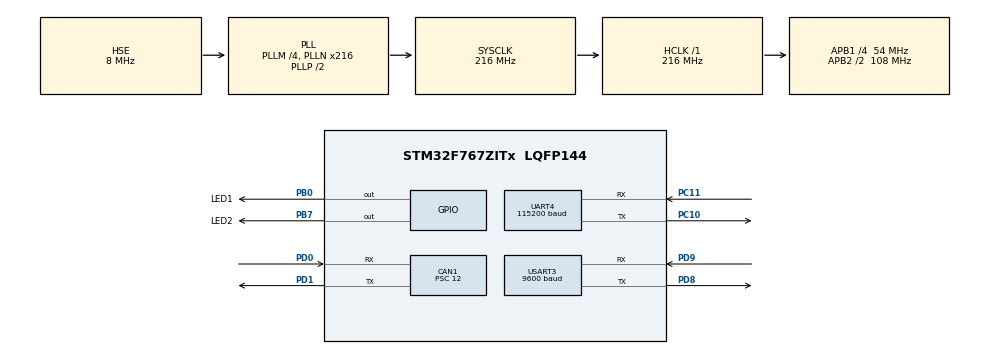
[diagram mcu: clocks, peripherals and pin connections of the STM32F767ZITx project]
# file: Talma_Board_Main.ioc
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CAN1.BS1=CAN_BS1_15TQ
CAN1.BS2=CAN_BS2_2TQ
CAN1.CalculateBaudRate=250000
CAN1.CalculateTimeBit=4000
CAN1.CalculateTimeQuantum=222.22222222222223
CAN1.Mode=CAN_MODE_NORMAL
CAN1.NART=ENABLE
CAN1.Prescaler=12
CORTEX_M7.default_mode_Activation=1
FREERTOS.Tasks01=defaultTask,24,512,StartDefaultTask,Default,NULL,Dynamic,NULL,NULL;v_CanRxTask,32,1024,CanRxTask,Default,NULL,Static,v_CanRxTaskBuffer,v_CanRxTaskControlBlock
Mcu.Family=STM32F7
Mcu.Name=STM32F767ZITx
Mcu.Package=LQFP144
NVIC.CAN1_RX0_IRQn=true\:5\:0\:false\:false\:true\:true\:true\:true\:true
NVIC.PriorityGroup=NVIC_PRIORITYGROUP_4
PA13.Mode=Serial_Wire
PA13.Signal=SYS_JTMS-SWDIO
PA14.Mode=Serial_Wire
PA14.Signal=SYS_JTCK-SWCLK
PB0.GPIO_Label=LED1
PB0.Signal=GPIO_Output
PB7.GPIO_Label=LED2
PB7.Signal=GPIO_Output
PC10.Mode=Asynchronous
PC10.Signal=UART4_TX
PC11.Mode=Asynchronous
PC11.Signal=UART4_RX
PC14/OSC32_IN.Mode=LSE-External-Oscillator
PC14/OSC32_IN.Signal=RCC_OSC32_IN
PC15/OSC32_OUT.Mode=LSE-External-Oscillator
PC15/OSC32_OUT.Signal=RCC_OSC32_OUT
PD0.GPIO_PuPd=GPIO_PULLUP
PD0.Mode=CAN_Activate
PD0.Signal=CAN1_RX
PD1.Mode=CAN_Activate
PD1.Signal=CAN1_TX
PD5.Signal=USART2_TX
PD6.Signal=USART2_RX
PD8.Mode=Asynchronous
PD8.Signal=USART3_TX
PD9.Mode=Asynchronous
PD9.Signal=USART3_RX
PH0/OSC_IN.Mode=HSE-External-Oscillator
PH0/OSC_IN.Signal=RCC_OSC_IN
PH1/OSC_OUT.Mode=HSE-External-Oscillator
PH1/OSC_OUT.Signal=RCC_OSC_OUT
ProjectManager.HeapSize=0x200
ProjectManager.StackSize=0x400
ProjectManager.TargetToolchain=STM32CubeIDE
RCC.AHBFreq_Value=216000000
RCC.APB1CLKDivider=RCC_HCLK_DIV4
RCC.APB1Freq_Value=54000000
RCC.APB1TimFreq_Value=108000000
RCC.APB2CLKDivider=RCC_HCLK_DIV2
RCC.APB2Freq_Value=108000000
RCC.APB2TimFreq_Value=216000000
RCC.CortexFreq_Value=216000000
RCC.HCLKFreq_Value=216000000
RCC.HSE_VALUE=8000000
RCC.HSI_VALUE=16000000
RCC.PLLM=4
RCC.PLLN=216
RCC.PLLSourceVirtual=RCC_PLLSOURCE_HSE
RCC.SYSCLKFreq_VALUE=216000000
RCC.SYSCLKSource=RCC_SYSCLKSOURCE_PLLCLK
RCC.UART4CLockSelection=RCC_UART4CLKSOURCE_HSI
RCC.USART2CLockSelection=RCC_USART2CLKSOURCE_HSI
RCC.USART3CLockSelection=RCC_USART3CLKSOURCE_HSI
RCC.USBFreq_Value=216000000
RCC.VCOOutputFreq_Value=432000000
UART4.BaudRate=115200
USART3.BaudRate=9600
USART3.VirtualMode-Asynchronous=VM_ASYNC
VP_FREERTOS_VS_CMSIS_V2.Mode=CMSIS_V2
board=custom

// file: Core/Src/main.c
/* USER CODE BEGIN Header */
/**   STM32_F767_CAN_4frame_main_1.0
  ******************************************************************************
  * @file           : main.c
  * @brief          : Main program body
  ******************************************************************************
  * @attention
  *
  * Copyright (c) 2026 STMicroelectronics.
  * All rights reserved.
  *
  * This software is licensed under terms that can be found in the LICENSE file
  * in the root directory of this software component.
  * If no LICENSE file comes with this software, it is provided AS-IS.
  *
  ******************************************************************************
  */
/* USER CODE END Header */
#include "main.h"
#include "cmsis_os.h"
#include "can.h"
#include "usart.h"
#include "gpio.h"

/* USER CODE BEGIN Includes */
#include "FreeRTOS.h"
#include "queue.h"
#include "can_rtos_rx.h"
#include "uart_pkt.h"
#include "node_state.h"
#include <stdio.h>
/* USER CODE END Includes */

/* USER CODE BEGIN PV */

volatile uint32_t rx_dropped = 0;
extern QueueHandle_t qCanRx;

/* USER CODE END PV */

void SystemClock_Config(void);
static void MPU_Config(void);
void MX_FREERTOS_Init(void);

/* USER CODE BEGIN 0 */

/*----------------------------------------------------------------------------*/
int _write(int file, char *ptr, int len)
{
  HAL_UART_Transmit(&huart3, (uint8_t*)ptr, len, HAL_MAX_DELAY);
  return len;
}
/*----------------------------------------------------------------------------*/
static void CAN_Filter_0x100_to_0x1FF(void)
{
    CAN_FilterTypeDef f = {0};

    f.FilterBank = 0;
    f.FilterMode = CAN_FILTERMODE_IDMASK;
    f.FilterScale = CAN_FILTERSCALE_32BIT;
    f.FilterFIFOAssignment = CAN_RX_FIFO0;
    f.FilterActivation = ENABLE;
    f.SlaveStartFilterBank = 14;

    // StdID در رجیستر 32بیتی باید << 5 شود (مثل کاری که قبلاً کردی)
    // می‌خواهیم 0x100 تا 0x1FF را بگیریم:
    // ماسک: فقط بیت‌های بالایی مهم باشند => 0x700 (برای محدوده 0x100..0x1FF)
    // در قالب شیفت‌شده: (0x700 << 5)
    uint32_t id   = (0x100U << 5);
    uint32_t mask = (0x700U << 5);

    f.FilterIdHigh     = (uint16_t)(id >> 16);
    f.FilterIdLow      = (uint16_t)(id & 0xFFFF);
    f.FilterMaskIdHigh = (uint16_t)(mask >> 16);
    f.FilterMaskIdLow  = (uint16_t)(mask & 0xFFFF);

    if (HAL_CAN_ConfigFilter(&hcan1, &f) != HAL_OK)
        Error_Handler();

    //printf("Filter: accept StdID 0x100..0x1FF\r\n");
}

/*static void CAN_Filter_Node0_Node1(void)
{
  CAN_FilterTypeDef f = {0};

  f.FilterMode = CAN_FILTERMODE_IDLIST;
  f.FilterScale = CAN_FILTERSCALE_16BIT;
  f.FilterFIFOAssignment = CAN_RX_FIFO0;
  f.FilterActivation = ENABLE;
  f.SlaveStartFilterBank = 14;

  // -----------------------
  // Bank 0 → Node0
  // -----------------------
  f.FilterBank = 0;

  f.FilterIdHigh     = (0x100 << 5);                      // StdId = BASE_ID + (BOARD_ID<<2) + chunk
  f.FilterIdLow      = (0x101 << 5);
  f.FilterMaskIdHigh = (0x102 << 5);
  f.FilterMaskIdLow  = (0x103 << 5);

  if (HAL_CAN_ConfigFilter(&hcan1, &f) != HAL_OK)
      Error_Handler();

  // -----------------------
  // Bank 1 → Node1
  // -----------------------
  f.FilterBank = 1;

  f.FilterIdHigh     = (0x104 << 5);
  f.FilterIdLow      = (0x105 << 5);
  f.FilterMaskIdHigh = (0x106 << 5);
  f.FilterMaskIdLow  = (0x107 << 5);

  if (HAL_CAN_ConfigFilter(&hcan1, &f) != HAL_OK)
      Error_Handler();

  // -----------------------
  // Bank 1 → Node1
  // -----------------------
  f.FilterBank = 2;

  f.FilterIdHigh     = (0x108 << 5);
  f.FilterIdLow      = (0x109 << 5);
  f.FilterMaskIdHigh = (0x10A << 5);
  f.FilterMaskIdLow  = (0x10B << 5);

  if (HAL_CAN_ConfigFilter(&hcan1, &f) != HAL_OK)
      Error_Handler();

  printf("Filter set: Node0(0x100-0x103) & Node1(0x104-0x107)\r\n");
}*/
/*----------------------------------------------------------------------------*/

/*----------------------------------------------------------------------------*/

/*static void CAN_StartWithIrq(void)
{
  if (HAL_CAN_Start(&hcan1) != HAL_OK)
    Error_Handler();

  if (HAL_CAN_ActivateNotification(&hcan1, CAN_IT_RX_FIFO0_MSG_PENDING) != HAL_OK)
    Error_Handler();
}*/

static void CAN_StartWithIrq(void)
{
    if (HAL_CAN_Start(&hcan1) == HAL_OK &&
        HAL_CAN_ActivateNotification(&hcan1, CAN_IT_RX_FIFO0_MSG_PENDING) == HAL_OK)
    {
        can_ok = 1;
        return;
    }

    can_ok = 0;
    // اینجا Error_Handler نرو؛ فقط گزارش بده
    //printf("CAN offline (no ACK?) err=0x%08lX\r\n", HAL_CAN_GetError(&hcan1));
}
/*----------------------------------------------------------------------------*/

/*----------------------------------------------------------------------------*/

void HAL_CAN_RxFifo0MsgPendingCallback(CAN_HandleTypeDef *hcan)
{
    HAL_GPIO_TogglePin(LED2_GPIO_Port, LED2_Pin);
	  CanRtosRx_OnFifo0Pending(hcan);
}
/*----------------------------------------------------------------------------*/

/* USER CODE END 0 */

int main(void)
{

  /* MPU Configuration--------------------------------------------------------*/
  MPU_Config();

  /* MCU Configuration--------------------------------------------------------*/

  /* Reset of all peripherals, Initializes the Flash interface and the Systick. */
  HAL_Init();

  /* Configure the system clock */
  SystemClock_Config();

  /* Initialize all configured peripherals */
  MX_GPIO_Init();
  MX_CAN1_Init();
  MX_USART3_UART_Init();
  MX_UART4_Init();
  /* USER CODE BEGIN 2 */
  HAL_Delay(100);
  CAN_Filter_0x100_to_0x1FF();
 // CAN_FilterAcceptSensorRange();
  CAN_StartWithIrq();

  HAL_Delay(500);

  /* --------------------------------------------------------------------------
   * Load default therapy/risk configuration preset.
   * -------------------------------------------------------------------------- */
  TherapyRisk_LoadPreset(THERAPY_CONFIG_DEMO);

  /* --------------------------------------------------------------------------
   * DEBUG:
   * Verify therapy/risk configuration preset was loaded correctly.
   * -------------------------------------------------------------------------- */
  printf("RISK CFG: demo=%u sac_th=%u watch=%u alert=%u critical=%u\r\n",
         g_risk_cfg.demo_mode,
         g_risk_cfg.pressure_threshold_sacrum,
         g_risk_cfg.exposure_watch_s,
         g_risk_cfg.exposure_alert_s,
         g_risk_cfg.exposure_critical_s);
  /* USER CODE END 2 */

  /* Init scheduler */
  osKernelInitialize();

  /* Call init function for freertos objects (in cmsis_os2.c) */
  MX_FREERTOS_Init();

  /* Start scheduler */
  osKernelStart();

  /* We should never get here as control is now taken by the scheduler */

  /* Infinite loop */
  while (1)
  {

  }
}

void SystemClock_Config(void)
{
  RCC_OscInitTypeDef RCC_OscInitStruct = {0};
  RCC_ClkInitTypeDef RCC_ClkInitStruct = {0};

  /** Configure LSE Drive Capability
  */
  HAL_PWR_EnableBkUpAccess();

  /** Configure the main internal regulator output voltage
  */
  __HAL_RCC_PWR_CLK_ENABLE();
  __HAL_PWR_VOLTAGESCALING_CONFIG(PWR_REGULATOR_VOLTAGE_SCALE1);

  /** Initializes the RCC Oscillators according to the specified parameters
  * in the RCC_OscInitTypeDef structure.
  */
  RCC_OscInitStruct.OscillatorType = RCC_OSCILLATORTYPE_HSI|RCC_OSCILLATORTYPE_HSE;
  RCC_OscInitStruct.HSEState = RCC_HSE_ON;
  RCC_OscInitStruct.HSIState = RCC_HSI_ON;
  RCC_OscInitStruct.HSICalibrationValue = RCC_HSICALIBRATION_DEFAULT;
  RCC_OscInitStruct.PLL.PLLState = RCC_PLL_ON;
  RCC_OscInitStruct.PLL.PLLSource = RCC_PLLSOURCE_HSE;
  RCC_OscInitStruct.PLL.PLLM = 4;
  RCC_OscInitStruct.PLL.PLLN = 216;
  RCC_OscInitStruct.PLL.PLLP = RCC_PLLP_DIV2;
  RCC_OscInitStruct.PLL.PLLQ = 2;
  RCC_OscInitStruct.PLL.PLLR = 2;
  if (HAL_RCC_OscConfig(&RCC_OscInitStruct) != HAL_OK)
  {
    Error_Handler();
  }

  /** Activate the Over-Drive mode
  */
  if (HAL_PWREx_EnableOverDrive() != HAL_OK)
  {
    Error_Handler();
  }

  /** Initializes the CPU, AHB and APB buses clocks
  */
  RCC_ClkInitStruct.ClockType = RCC_CLOCKTYPE_HCLK|RCC_CLOCKTYPE_SYSCLK
                              |RCC_CLOCKTYPE_PCLK1|RCC_CLOCKTYPE_PCLK2;
  RCC_ClkInitStruct.SYSCLKSource = RCC_SYSCLKSOURCE_PLLCLK;
  RCC_ClkInitStruct.AHBCLKDivider = RCC_SYSCLK_DIV1;
  RCC_ClkInitStruct.APB1CLKDivider = RCC_HCLK_DIV4;
  RCC_ClkInitStruct.APB2CLKDivider = RCC_HCLK_DIV2;

  if (HAL_RCC_ClockConfig(&RCC_ClkInitStruct, FLASH_LATENCY_7) != HAL_OK)
  {
    Error_Handler();
  }
}

/* USER CODE BEGIN 4 */

/*----------------------------------------------------------------------------*/

/*----------------------------------------------------------------------------*/

/*----------------------------------------------------------------------------*/

/*----------------------------------------------------------------------------*/

/* USER CODE END 4 */

 /* MPU Configuration */

void MPU_Config(void)
{
  MPU_Region_InitTypeDef MPU_InitStruct = {0};

  /* Disables the MPU */
  HAL_MPU_Disable();

  /** Initializes and configures the Region and the memory to be protected
  */
  MPU_InitStruct.Enable = MPU_REGION_ENABLE;
  MPU_InitStruct.Number = MPU_REGION_NUMBER0;
  MPU_InitStruct.BaseAddress = 0x0;
  MPU_InitStruct.Size = MPU_REGION_SIZE_4GB;
  MPU_InitStruct.SubRegionDisable = 0x87;
  MPU_InitStruct.TypeExtField = MPU_TEX_LEVEL0;
  MPU_InitStruct.AccessPermission = MPU_REGION_NO_ACCESS;
  MPU_InitStruct.DisableExec = MPU_INSTRUCTION_ACCESS_DISABLE;
  MPU_InitStruct.IsShareable = MPU_ACCESS_SHAREABLE;
  MPU_InitStruct.IsCacheable = MPU_ACCESS_NOT_CACHEABLE;
  MPU_InitStruct.IsBufferable = MPU_ACCESS_NOT_BUFFERABLE;

  HAL_MPU_ConfigRegion(&MPU_InitStruct);
  /* Enables the MPU */
  HAL_MPU_Enable(MPU_PRIVILEGED_DEFAULT);

}

void Error_Handler(void)
{
  /* USER CODE BEGIN Error_Handler_Debug */
  /* User can add his own implementation to report the HAL error return state */
  __disable_irq();
  while (1)
  {
	  //  HAL_GPIO_TogglePin(GPIOB, GPIO_PIN_0);
	    HAL_Delay(200);
  }
  /* USER CODE END Error_Handler_Debug */
}

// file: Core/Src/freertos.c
/* USER CODE BEGIN Header */
/**
  ******************************************************************************
  * File Name          : freertos.c
  * Description        : Code for freertos applications
  ******************************************************************************
  * @attention
  *
  * Copyright (c) 2026 STMicroelectronics.
  * All rights reserved.
  *
  * This software is licensed under terms that can be found in the LICENSE file
  * in the root directory of this software component.
  * If no LICENSE file comes with this software, it is provided AS-IS.
  *
  ******************************************************************************
  */
/* USER CODE END Header */

#include "FreeRTOS.h"
#include "task.h"
#include "main.h"
#include "cmsis_os.h"

/* USER CODE BEGIN Includes */
#include "can.h"        // <<< اضافه کن
#include "can_rtos_rx.h"
#include "app_can.h"
#include "Serial_link.h"   // ارسال از طریق queue#include "uart_pkt.h"
#include  <stdio.h>
#include <string.h>
#include "can_rtos_tx.h"
#include "bed_model.h"
#include "sensor_store.h"
#include "node_state.h"
#include "bed_model.h"   // دسترسی به bed_cycle و bed_value
#include "uart_pkt.h"
#include "zone_analysis.h"   // تحلیل ناحیه‌های بالینی
#include "movement.h"
#include "risk_engine.h"   // محاسبه risk score
#include "alert_engine.h"
#include "recommendation.h"   // تولید توصیه عملی
#include "app_config.h"
#include "motor_scheduler.h"
#include "motor_test.h"
#include "therapy_engine.h"   // تصمیم سطح بالا برای therapy و ارسال به motor_scheduler
#include "motor_status_can.h"   // decode Node -> Main motor feedback on 0x480 + BOARD_ID
/* USER CODE END Includes */

typedef StaticTask_t osStaticThreadDef_t;

/* USER CODE BEGIN PD */

// === minimum time gap between full-bed snapshots sent to UI ===
// جلوگیری از ارسال بیش از حد snapshot کامل
#define SUMMARY_FIXED_PERIOD_MS   1000U

// === UI stream throttle ===
// برای اینکه UART RX فرصت دریافت command از UI داشته باشد، stream خروجی را محدود می‌کنیم.
#define UI_NODE32_SEND_EVERY_N_CYCLES   50U
/* USER CODE END PD */

/* USER CODE BEGIN Variables */
// ===  zone analysis result ===
// خروجی تحلیل ناحیه‌های تخت
static ZoneAnalysisResult_t g_zone_result;
static MovementResult_t g_movement;
// ===  risk engine result ===
static RiskResult_t g_risk_result;
static AlertResult_t g_alert;
// === recommendation result ===
static RecommendationResult_t g_recommendation;
// === global therapy/intervention planner state ===
// app_intervention.c برای approve/reject به این state دسترسی دارد.
TherapyEngineState_t g_therapy;
// === debug print throttle ===
// جلوگیری از spam شدن UART
static uint32_t last_debug_print = 0;

// === exposure tracking (seconds above threshold) ===
static uint32_t g_sacrum_exposure_s = 0U;
static uint32_t g_heels_exposure_s = 0U;
static uint32_t g_shoulders_exposure_s = 0U;

// === exposure thresholds per zone ===
// این thresholdها برای تست trend/exposure روی zoneهای مختلف جدا تعریف شده‌اند
static const uint8_t g_sacrum_exposure_threshold    = 20U;
static const uint8_t g_heels_exposure_threshold     = 8U;
static const uint8_t g_shoulders_exposure_threshold = 12U;

// === last time exposure counters were updated ===
static uint32_t g_last_exposure_update_ms = 0U;

extern volatile uint32_t rx_dropped;

osThreadId_t uartTestTaskHandle;
osThreadId_t serialTxTaskHandle;
// === SerialLink RX task handle ===
// دریافت commandهای UI روی UART
osThreadId_t serialRxTaskHandle;
osThreadId_t canTxTaskHandle;
osThreadId_t nodeMonitorTaskHandle;   // === task handle for node state monitor ===

osThreadId_t motorSchedulerTaskHandle;
osThreadId_t motorTestTaskHandle;
/* USER CODE END Variables */
/* Definitions for defaultTask */
osThreadId_t defaultTaskHandle;
const osThreadAttr_t defaultTask_attributes = {
  .name = "defaultTask",
  .stack_size = 512 * 4,
  .priority = (osPriority_t) osPriorityNormal,
};
/* Definitions for v_CanRxTask */
osThreadId_t v_CanRxTaskHandle;
uint32_t v_CanRxTaskBuffer[ 1024 ];
osStaticThreadDef_t v_CanRxTaskControlBlock;
const osThreadAttr_t v_CanRxTask_attributes = {
  .name = "v_CanRxTask",
  .cb_mem = &v_CanRxTaskControlBlock,
  .cb_size = sizeof(v_CanRxTaskControlBlock),
  .stack_mem = &v_CanRxTaskBuffer[0],
  .stack_size = sizeof(v_CanRxTaskBuffer),
  .priority = (osPriority_t) osPriorityAboveNormal,
};

/* USER CODE BEGIN FunctionPrototypes */
void UartTestTask(void *argument);
static uint8_t BuildNodeFlags(uint8_t node);   // ===  build UART flags for one node ===
static uint8_t SensorStatus_IsValid(uint8_t status);   // validity policy for one sensor status ===
static uint8_t SensorStatus_GetConfidence(uint8_t status);   // map sensor status to confidence ===
static void UpdateExposureCounters(const ZoneAnalysisResult_t *zone_res, uint32_t now_ms);
/* USER CODE END FunctionPrototypes */

void StartDefaultTask(void *argument);
void CanRxTask(void *argument);
void NodeMonitorTask(void *argument);   //  monitor node online/stale/offline state ===
void Node1CmdTask(void *argument);
void MX_FREERTOS_Init(void); /* (MISRA C 2004 rule 8.1) */

void MX_FREERTOS_Init(void) {
  /* USER CODE BEGIN Init */
	CanRtosRx_Init();
	CanRtosTx_Init();
	// === init motor scheduler queue/state ===
	// این لایه فرمان‌های موتور را queue می‌کند و با pacing امن روی CAN TX می‌فرستد.
	MotorScheduler_Init();
	UartPkt_Init();
	configASSERT(qCanRx != NULL);

	SerialLink_Init();
	// === initialize clinical zone layout ===
	ZoneAnalysis_Init();
	Movement_Init();
	AlertEngine_Init();
	// === initialize therapy engine ===
	// therapy فعلاً disabled است تا حرکت خودکار بدون تصمیم ما اجرا نشود.
	TherapyEngine_Init(&g_therapy);

	// DEBUG:
	// فقط برای تست planner.
	// این فعال‌سازی موتور را حرکت نمی‌دهد؛ فقط اجازه ساخت pending_plan می‌دهد.
	TherapyEngine_SetEnabled(&g_therapy, 1U);

	// DEBUG ONLY:
	// ساخت pending plan دستی برای تست approve lifecycle.
	// بعد از تست حتماً کامنت شود.
	//TherapyEngine_DebugCreatePendingPlan(&g_therapy, HAL_GetTick());

	const osThreadAttr_t serialTxTask_attributes = {
	  .name = "serialTxTask",
	  .stack_size = 512 * 4,
	  .priority = (osPriority_t) osPriorityNormal,
	};

	const osThreadAttr_t serialRxTask_attributes = {
	  .name = "serialRxTask",
	  .stack_size = 512 * 4,
	  .priority = (osPriority_t) osPriorityAboveNormal,
	};

	const osThreadAttr_t canTxTask_attributes = {
	  .name = "canTxTask",
	  .stack_size = 512 * 4,
	  .priority = (osPriority_t) osPriorityNormal,
	};

	const osThreadAttr_t motorSchedulerTask_attributes = {
	  .name = "motorSched",
	  .stack_size = 512 * 4,
	  .priority = (osPriority_t) osPriorityNormal,
	};

	#if ENABLE_MOTOR_TEST_TASK
		const osThreadAttr_t motorTestTask_attributes = {
		  .name = "motorTest",
		  .stack_size = 512 * 4,
		  .priority = (osPriority_t) osPriorityLow,
		};
	#endif

	#if ENABLE_NODE1_TEST_CMD_TASK
		const osThreadAttr_t node1CmdTask_attributes = {
		  .name = "node1CmdTask",
		  .stack_size = 512 * 4,
		  .priority = (osPriority_t) osPriorityLow,
		};
	#endif

	// === attributes for node monitor task ===
	const osThreadAttr_t nodeMonitorTask_attributes = {
	  .name = "nodeMonitorTask",
	  .stack_size = 512 * 4,
	  .priority = (osPriority_t) osPriorityLow,
	};
  /* USER CODE END Init */

  /* Create the thread(s) */
  /* creation of defaultTask */
  defaultTaskHandle = osThreadNew(StartDefaultTask, NULL, &defaultTask_attributes);

  /* creation of v_CanRxTask */
  v_CanRxTaskHandle = osThreadNew(CanRxTask, NULL, &v_CanRxTask_attributes);
  canTxTaskHandle = osThreadNew(CanTxTask, NULL, &canTxTask_attributes);

  // === motor command scheduler task ===
  // همه commandهای موتور از این task عبور می‌کنند تا interleave نشوند.
  motorSchedulerTaskHandle = osThreadNew(MotorScheduler_Task, NULL, &motorSchedulerTask_attributes);

  #if ENABLE_MOTOR_TEST_TASK
  // === temporary hardcoded motor tests ===
  // بعد از bring-up موفق، ENABLE_MOTOR_TEST_TASK را 0 کن.
  motorTestTaskHandle = osThreadNew(MotorTest_Task, NULL, &motorTestTask_attributes);
  #endif
  /* USER CODE BEGIN RTOS_THREADS */

  //uartTestTaskHandle = osThreadNew(UartTestTask, NULL, &uartTestTask_attributes);
  serialTxTaskHandle  = osThreadNew(SerialLink_TxTask, NULL, &serialTxTask_attributes);
  // === create SerialLink RX task ===
  // approve/reject commandها از UI
  serialRxTaskHandle = osThreadNew(SerialLink_RxTask, NULL, &serialRxTask_attributes);

	#if ENABLE_NODE1_TEST_CMD_TASK
	  // === create periodic test command task only when enabled ===
	  osThreadNew(Node1CmdTask, NULL, &node1CmdTask_attributes);
	#endif

  // === create node monitor task ===
  nodeMonitorTaskHandle = osThreadNew(NodeMonitorTask, NULL, &nodeMonitorTask_attributes);

  /* add threads, ... */
  /* USER CODE END RTOS_THREADS */

}

void StartDefaultTask(void *argument)
{
  /* USER CODE BEGIN StartDefaultTask */
	//HAL_CAN_ActivateNotification(&hcan1, CAN_IT_RX_FIFO0_MSG_PENDING);
	//printf("CAN notif enabled\r\n");

  /* Infinite loop */
	for(;;)
	{
	 //   HAL_GPIO_TogglePin(LED1_GPIO_Port, LED1_Pin);

	#if DEBUG_SERIAL_TX_STATS
	    printf("SerialLink dropped=%lu\r\n",
	           (unsigned long)SerialLink_TxDropped());
	#endif

	    // === اگر یک snapshot کامل از تخت آماده شده ===
	   /* if (bed_snapshot_ready != 0U)
	    {
	        // === ارسال کل تخت به UI ===
	        UartPkt_SendBedSnapshot((uint16_t)bed_cycle, bed_value);

	        // === reset flag تا دوباره ارسال نشود ===
	        bed_snapshot_ready = 0U;
	    }*/

	    osDelay(500);   // کمی سریع‌تر برای پاسخ بهتر
	}
  /* USER CODE END StartDefaultTask */
}

void CanRxTask(void *argument)
{
  (void)argument;

  CanRxMsg m;

  // === آخرین زمان enqueue شدن packetهای سنگین UI ===
  static uint32_t last_summary_tx_ms = 0U;

  // === [CONFIG] حداکثر فاصله مجاز بین chunk های یک assemble ===
  const uint32_t ASM_TIMEOUT_MS = 100U;

  // === [STAT] شمارش خطای enqueue به UART TX queue ===
  static volatile uint32_t tx_drop = 0;

  // === شناسه فریم ارسالی به UI ===
  static uint16_t ui_frame_id = 0U;

  uint16_t frame_id = 0;

  for (;;)
  {
    // === [RX] منتظر پیام از صف CAN RX ===
    if (xQueueReceive(qCanRx, &m, portMAX_DELAY) != pdPASS)
      continue;

    const uint32_t now = HAL_GetTick();
    last_rx_ms = now;

    // === [FILTER] فقط فریم استاندارد data با طول 8 بایت ===
    if (m.h.IDE != CAN_ID_STD)   continue;
    if (m.h.RTR != CAN_RTR_DATA) continue;
    if (m.h.DLC != 8U)           continue;

    const uint16_t id = (uint16_t)m.h.StdId;

    // === [MOTOR STATUS RX] Node -> Main motor feedback ===
    // Motor status frames use 0x480 + BOARD_ID.
    // این frameها مربوط به sensor assembly نیستند و باید قبل از sensor decode جدا شوند.
    if (MotorStatusCan_IsStatusId(id) != 0U)
    {
      MotorStatusCan_HandleFrame(id, m.d, now);
      continue;
    }

    // === [FILTER] فقط ID های بازه سنسورها ===
    if (id < (uint16_t)BASE_ID) continue;

    // === [DECODE] استخراج node و chunk از CAN ID ===
    const uint16_t rel   = (uint16_t)(id - (uint16_t)BASE_ID);
    const uint8_t  node  = (uint8_t)(rel >> 2);
    const uint8_t  chunk = (uint8_t)(rel & 0x03U);

    // === [BOUND CHECK] اگر node خارج از بازه معتبر بود ===
    if (node >= (uint8_t)NODES) continue;

    // === [TRACK] ثبت آخرین زمان دریافت هر فریم از این نود ===
    node_last_frame_ms[node] = now;

    // === [ASSEMBLY TIMEOUT] اگر assemble نیمه‌کاره قدیمی مانده، ریست شود ===
    if (chunk_mask[node] != 0U)
    {
      if ((now - asm_start_ms[node]) > ASM_TIMEOUT_MS)
      {
        chunk_mask[node] = 0U;
        asm_start_ms[node] = now;
      }
    }

    // === [ASSEMBLY START] اگر این اولین chunk این سیکل باشد ===
    if (chunk_mask[node] == 0U)
    {
      asm_start_ms[node] = now;
    }

    // === [DECODE SENSOR BYTES] decode کردن raw/value/status ===
    const uint8_t base = (uint8_t)((uint32_t)chunk * SENSOR_BYTES_PER_CHUNK);

    for (uint8_t i = 0; i < SENSOR_BYTES_PER_CHUNK; i++)
    {
      const uint8_t raw = m.d[i];
      const uint8_t idx = (uint8_t)(base + i);

      sensors32[node][idx] = raw;

      sensor_value[node][idx] =
          (uint8_t)(raw & SENSOR_VALUE_MASK);

      sensor_status[node][idx] =
          (uint8_t)((raw >> SENSOR_STATUS_SHIFT) & SENSOR_STATUS_MASK);

      valid_mask[node][idx] =
          SensorStatus_IsValid(sensor_status[node][idx]);

      sensor_confidence[node][idx] =
          SensorStatus_GetConfidence(sensor_status[node][idx]);
    }

    // === [MARK] این chunk برای این نود دریافت شد ===
    chunk_mask[node] |= (uint8_t)(1U << chunk);

    // === [COMPLETE] اگر هر 4 chunk رسیده‌اند ===
    if (chunk_mask[node] == 0x0FU)
    {
      chunk_mask[node] = 0U;
      cycles_ok[node]++;

      // === [MEASURE] اندازه‌گیری فاصله بین complete cycle های این نود ===
      {
        uint32_t prev_complete = node_last_complete_ms[node];
        node_last_complete_ms[node] = now;

        if (prev_complete != 0U)
        {
          /*
          printf("NODE %u complete_dt=%lu ms\r\n",
                 node,
                 (unsigned long)(now - prev_complete));
          */
        }
      }

      node_state[node] = NODE_STATE_ONLINE;

      // === copy completed node sensor data into global bed model ===
      BedModel_UpdateNode(node,
                          sensor_value,
                          sensor_status,
                          valid_mask,
                          sensor_confidence);

      // === update bed cycle sync state ===
      BedSync_OnNodeUpdated(node);

      // === اگر یک snapshot کامل از تخت آماده شده ===
      if (bed_snapshot_ready != 0U)
      {
        // === run zone analysis on stable snapshot ===
        ZoneAnalysis_Run(bed_value_send,
                         bed_valid_send,
                         &g_zone_result);

        // === run movement detection on stable snapshot ===
        Movement_Run(bed_value_send,
                     bed_valid_send,
                     &g_movement);

        // === run risk score engine ===
        RiskEngine_Run(&g_zone_result,
                       &g_movement,
                       &g_risk_result);

        AlertEngine_Run(&g_risk_result,
                        &g_movement,
                        &g_alert);

        // === generate recommendation from current clinical summary ===
        Recommendation_Run(&g_risk_result,
                           &g_alert,
                           &g_movement,
                           &g_recommendation);

        // === build intervention plan only ===
        // هیچ حرکت موتوری اینجا انجام نمی‌شود.
        TherapyEngine_Run(&g_therapy,
                          &g_zone_result,
                          &g_movement,
                          &g_risk_result,
                          &g_alert,
                          &g_recommendation,
                          now);

        // === send pending intervention plan only once ===
        {
          TherapyPlan_t *p =
              (TherapyPlan_t *)TherapyEngine_GetPendingPlan(&g_therapy);

          if (p != 0)
          {
            if (p->ui_sent == 0U)
            {
              if (SerialLink_SendInterventionPlan_Async(p) == pdPASS)
              {
                p->ui_sent = 1U;

                printf("THERAPY PLAN: delivered to UI id=%lu\r\n",
                       (unsigned long)p->plan_id);
              }
            }
          }
        }

        // === derived summary fields for analytics/trend ===
        uint16_t uptime_s = (uint16_t)(now / 1000U);

        uint8_t shoulders_avg = (uint8_t)(
            ((uint16_t)g_zone_result.zone[ZONE_LEFT_SHOULDER].avg +
             (uint16_t)g_zone_result.zone[ZONE_RIGHT_SHOULDER].avg) / 2U);

        uint8_t shoulders_peak =
            (g_zone_result.zone[ZONE_LEFT_SHOULDER].peak >
             g_zone_result.zone[ZONE_RIGHT_SHOULDER].peak)
            ? g_zone_result.zone[ZONE_LEFT_SHOULDER].peak
            : g_zone_result.zone[ZONE_RIGHT_SHOULDER].peak;

        UpdateExposureCounters(&g_zone_result, now);

        uint8_t zones_valid_mask = 0U;

        if (g_zone_result.zone[ZONE_SACRUM].valid_cells > 0U)
          zones_valid_mask |= (1U << 0);

        if (g_zone_result.zone[ZONE_LEFT_HEEL].valid_cells > 0U)
          zones_valid_mask |= (1U << 1);

        if (g_zone_result.zone[ZONE_RIGHT_HEEL].valid_cells > 0U)
          zones_valid_mask |= (1U << 2);

        if (g_zone_result.zone[ZONE_LEFT_SHOULDER].valid_cells > 0U)
          zones_valid_mask |= (1U << 3);

        if (g_zone_result.zone[ZONE_RIGHT_SHOULDER].valid_cells > 0U)
          zones_valid_mask |= (1U << 4);

        // bit0 = raw averages
        // bit1 = smoothed averages
        // bit2 = exposure counters active
        uint8_t summary_flags = 0x05U;

        if ((now - last_debug_print) >= DEBUG_PRINT_PERIOD_MS)
        {
          last_debug_print = now;

#if DEBUG_ZONE_ANALYSIS
          printf("ZONE: sacrum avg=%u peak=%u valid=%u active=%u | heelL avg=%u | heelR avg=%u\r\n",
                 g_zone_result.zone[ZONE_SACRUM].avg,
                 g_zone_result.zone[ZONE_SACRUM].peak,
                 g_zone_result.zone[ZONE_SACRUM].valid_cells,
                 g_zone_result.zone[ZONE_SACRUM].active_cells,
                 g_zone_result.zone[ZONE_LEFT_HEEL].avg,
                 g_zone_result.zone[ZONE_RIGHT_HEEL].avg);
#endif

#if DEBUG_ALERT
          printf("ALERT: active=%u type=%u sev=%u dur=%lu s\r\n",
                 g_alert.active,
                 g_alert.type,
                 g_alert.severity,
                 (unsigned long)g_alert.duration_s);
#endif

#if DEBUG_RISK
          printf("RISK: score=%u level=%u\r\n",
                 g_risk_result.score,
                 g_risk_result.level);
#endif

#if DEBUG_MOVEMENT
          printf("MOV: energy=%u detected=%u\r\n",
                 g_movement.energy,
                 g_movement.detected);
#endif

#if DEBUG_RECOMMENDATION
          printf("REC: code=%u priority=%u sac_avg=%u\r\n",
                 g_recommendation.code,
                 g_recommendation.priority,
                 g_zone_result.zone[ZONE_SACRUM].avg);
#endif
        }

        // === UI heavy packet scheduler ===
        // قبلاً در هر period چهار packet پشت‌سرهم enqueue می‌شد:
        // BED_SNAPSHOT + BED_STATUS + NODE_HEALTH + SUMMARY
        // این باعث اشباع UART می‌شد.
        // الان در هر period فقط یکی از آن‌ها enqueue می‌شود.
        if ((now - last_summary_tx_ms) >= SUMMARY_FIXED_PERIOD_MS)
        {
        	/* --------------------------------------------------------------------------
        	 * TIME SINCE LAST MOVEMENT
        	 *
        	 * اگر هنوز هیچ movement معتبری ثبت نشده باشد، نباید 0xFFFF بفرستیم.
        	 * چون این باعث می‌شود risk engine فکر کند بیمار مدت خیلی طولانی بی‌حرکت بوده.
        	 *
        	 * در startup:
        	 *   no-movement time از صفر شروع می‌شود.
        	 *
        	 * بعداً اگر movement واقعی ثبت شد:
        	 *   زمان از آخرین movement محاسبه می‌شود.
        	 * -------------------------------------------------------------------------- */
        	uint16_t time_since_last_movement_s = 0U;

        	if (g_movement.last_movement_ms != 0U)
        	{
        	  uint32_t dt_ms = now - g_movement.last_movement_ms;
        	  uint32_t dt_s = dt_ms / 1000U;

        	  if (dt_s > 0xFFFFU)
        	  {
        	    dt_s = 0xFFFFU;
        	  }

        	  time_since_last_movement_s = (uint16_t)dt_s;
        	}
        	else
        	{
        	  /* ------------------------------------------------------------------------
        	   * No movement has been detected yet.
        	   * Count immobility from system uptime instead of forcing 0xFFFF.
        	   * ------------------------------------------------------------------------ */
        	  uint32_t uptime_s32 = now / 1000U;

        	  if (uptime_s32 > 0xFFFFU)
        	  {
        	    uptime_s32 = 0xFFFFU;
        	  }

        	  time_since_last_movement_s = (uint16_t)uptime_s32;
        	}

          frame_id = ++ui_frame_id;

          // === round-robin heavy UI packets ===
          // هر بار فقط یک packet سنگین وارد qSerialTx می‌شود.
          static uint8_t ui_heavy_slot = 0U;
          BaseType_t ui_tx_ok = pdFAIL;

#if DEBUG_SUMMARY_ENQUEUE
          printf("UI FRAME: frame_id=%u slot=%u\r\n",
                 frame_id,
                 (unsigned)ui_heavy_slot);
#endif

          switch (ui_heavy_slot)
          {
            case 0U:
            {
              ui_tx_ok = SerialLink_SendBedSnapshot_Async(frame_id);

#if DEBUG_SUMMARY_ENQUEUE
              printf("ENQ: BED_SNAPSHOT %s\r\n",
                     (ui_tx_ok == pdPASS) ? "ok" : "fail");
#endif
              break;
            }

            case 1U:
            {
              ui_tx_ok = SerialLink_SendBedStatus_Async(frame_id);

#if DEBUG_SUMMARY_ENQUEUE
              printf("ENQ: BED_STATUS %s\r\n",
                     (ui_tx_ok == pdPASS) ? "ok" : "fail");
#endif
              break;
            }

            case 2U:
            {
              ui_tx_ok = SerialLink_SendNodeHealth_Async(frame_id);

#if DEBUG_SUMMARY_ENQUEUE
              printf("ENQ: NODE_HEALTH %s\r\n",
                     (ui_tx_ok == pdPASS) ? "ok" : "fail");
#endif
              break;
            }

            case 3U:
            default:
            {

            	/* --------------------------------------------------------------------------
            	 * TIME-BASED RISK / ALERT GATING
            	 *
            	 * Heatmap و zone values لحظه‌ای هستند و همیشه به UI ارسال می‌شوند.
            	 *
            	 * اما risk / alert / recommendation نباید با اولین frame فعال شوند.
            	 * این‌ها فقط وقتی فعال می‌شوند که exposure زمان کافی جمع کرده باشد.
            	 *
            	 * Config از g_risk_cfg خوانده می‌شود:
            	 *   - DEMO mode: زمان‌های کوتاه برای تست UI
            	 *   - CLINICAL_TEST mode: زمان‌های واقعی‌تر
            	 * -------------------------------------------------------------------------- */

            	/* بیشترین exposure بین نواحی مهم را مبنای risk کلی قرار می‌دهیم. */
            	uint16_t max_exposure_s = (uint16_t)g_sacrum_exposure_s;

            	if ((uint16_t)g_heels_exposure_s > max_exposure_s)
            	{
            	  max_exposure_s = (uint16_t)g_heels_exposure_s;
            	}

            	if ((uint16_t)g_shoulders_exposure_s > max_exposure_s)
            	{
            	  max_exposure_s = (uint16_t)g_shoulders_exposure_s;
            	}

            	/* --------------------------------------------------------------------------
            	 * Default gated values:
            	 * تا قبل از رسیدن exposure به threshold، UI باید risk/alert خاموش ببیند.
            	 * -------------------------------------------------------------------------- */
            	uint8_t gated_risk_score = 0U;
            	uint8_t gated_risk_level = 0U;

            	uint8_t gated_alert_active = 0U;
            	uint8_t gated_alert_type = 0U;
            	uint8_t gated_alert_severity = 0U;
            	uint16_t gated_alert_duration_s = 0U;

            	uint8_t gated_recommendation_code = 0U;
            	uint8_t gated_recommendation_priority = 0U;

            	/* --------------------------------------------------------------------------
            	 * IMMOBILITY GATING
            	 *
            	 * Clinical risk فقط وقتی معتبر است که:
            	 *   فشار/Exposure بالا باشد
            	 *   و بیمار مدت کافی حرکت مؤثر نداشته باشد.
            	 *
            	 * اگر بیمار اخیراً حرکت کرده باشد:
            	 *   heatmap همچنان نمایش داده می‌شود
            	 *   اما risk/alert/recommendation فعال نمی‌شود.
            	 * -------------------------------------------------------------------------- */

            	uint8_t movement_warn_elapsed = 0U;
            	uint8_t movement_alert_elapsed = 0U;

            	/* --------------------------------------------------------------------------
            	 * اگر زمان بدون حرکت از warning threshold عبور کرد
            	 * اجازه WATCH risk داده می‌شود.
            	 * -------------------------------------------------------------------------- */
            	if (time_since_last_movement_s >=
            	    g_risk_cfg.no_movement_warn_s)
            	{
            	  movement_warn_elapsed = 1U;
            	}

            	/* --------------------------------------------------------------------------
            	 * اگر زمان بدون حرکت از alert threshold عبور کرد
            	 * اجازه ALERT/CRITICAL داده می‌شود.
            	 * -------------------------------------------------------------------------- */
            	if (time_since_last_movement_s >=
            	    g_risk_cfg.no_movement_alert_s)
            	{
            	  movement_alert_elapsed = 1U;
            	}

            	/* --------------------------------------------------------------------------
            	 * WATCH:
            	 * شروع نمایش risk سبک، بدون alert جدی.
            	 * -------------------------------------------------------------------------- */
            	if ((max_exposure_s >= g_risk_cfg.exposure_watch_s) &&
            	    (movement_warn_elapsed != 0U))
            	{
            	  gated_risk_score = 25U;
            	  gated_risk_level = 1U;
            	}

            	/* --------------------------------------------------------------------------
            	 * ALERT:
            	 * وقتی exposure به سطح alert رسید، alert و recommendation فعال می‌شوند.
            	 * -------------------------------------------------------------------------- */
            	if ((max_exposure_s >= g_risk_cfg.exposure_alert_s) &&
            	    (movement_alert_elapsed != 0U))
            	{
            	  gated_risk_score = 60U;
            	  gated_risk_level = 2U;

            	  gated_alert_active = 1U;
            	  gated_alert_type = 1U;
            	  gated_alert_severity = 2U;
            	  gated_alert_duration_s = max_exposure_s;

            	  gated_recommendation_code = 1U;
            	  gated_recommendation_priority = 2U;
            	}

            	/* --------------------------------------------------------------------------
            	 * CRITICAL:
            	 * exposure طولانی و جدی.
            	 * -------------------------------------------------------------------------- */
            	if ((max_exposure_s >= g_risk_cfg.exposure_critical_s) &&
            	    (movement_alert_elapsed != 0U))
            	{
            	  gated_risk_score = 90U;
            	  gated_risk_level = 3U;

            	  gated_alert_active = 1U;
            	  gated_alert_type = 1U;
            	  gated_alert_severity = 3U;
            	  gated_alert_duration_s = max_exposure_s;

            	  gated_recommendation_code = 2U;
            	  gated_recommendation_priority = 3U;
            	}

            	/* --------------------------------------------------------------------------
            	 * DEBUG:
            	 * Verify gated recommendation values before UART summary TX.
            	 * -------------------------------------------------------------------------- */
            	printf("GATED SUMMARY: "
            	       "exp=%u "
            	       "risk=%u "
            	       "alert=%u "
            	       "rec=%u "
            	       "prio=%u\r\n",
            	       max_exposure_s,
            	       gated_risk_level,
            	       gated_alert_active,
            	       gated_recommendation_code,
            	       gated_recommendation_priority);

            	printf("GATED SUMMARY: exp=%u move=%u noMove=%u warn=%u alertT=%u risk=%u alert=%u rec=%u prio=%u\r\n",
            	       max_exposure_s,
            	       g_movement.detected,
            	       time_since_last_movement_s,
            	       g_risk_cfg.no_movement_warn_s,
            	       g_risk_cfg.no_movement_alert_s,
            	       gated_risk_level,
            	       gated_alert_active,
            	       gated_recommendation_code,
            	       gated_recommendation_priority);

              ui_tx_ok = SerialLink_SendSummary_Async(
                  frame_id,
                  uptime_s,
				  gated_risk_score,
				  gated_risk_level,
                  g_movement.detected,
                  time_since_last_movement_s,
				  gated_alert_active,
				  gated_alert_type,
				  gated_alert_severity,
				  gated_alert_duration_s,
				  gated_recommendation_code,
				  gated_recommendation_priority,
                  g_zone_result.zone[ZONE_SACRUM].avg,
                  g_zone_result.zone[ZONE_SACRUM].peak,
                  g_zone_result.zone[ZONE_LEFT_HEEL].avg,
                  g_zone_result.zone[ZONE_RIGHT_HEEL].avg,
                  shoulders_avg,
                  shoulders_peak,
                  g_sacrum_exposure_threshold,
                  (uint16_t)g_sacrum_exposure_s,
                  (uint16_t)g_heels_exposure_s,
                  (uint16_t)g_shoulders_exposure_s,
                  zones_valid_mask,
                  summary_flags);

#if DEBUG_SUMMARY_ENQUEUE
              printf("ENQ: SUMMARY %s\r\n",
                     (ui_tx_ok == pdPASS) ? "ok" : "fail");
#endif
              break;
            }
          }

          if (ui_tx_ok == pdPASS)
          {
            ui_heavy_slot++;

            if (ui_heavy_slot >= 4U)
              ui_heavy_slot = 0U;

            if (last_summary_tx_ms == 0U)
              last_summary_tx_ms = now;
            else
              last_summary_tx_ms += SUMMARY_FIXED_PERIOD_MS;
          }
          else
          {
            // اگر queue پر بود، slot را جلو نمی‌بریم تا packet از دست نرود.
            // در cycle بعد دوباره همین نوع packet تلاش می‌شود.
          }
        }

        // === این snapshot پردازش شد ===
        bed_snapshot_ready = 0U;
      }

#if DEBUG_CAN_RX_COMPLETE
      printf("NODE %u state=%u flags=0x%02X node_cycle=%lu bed_cycle=%lu sync=0x%08lX | "
             "S0->R%uC%u V=%u S=%u M=%u C=%u | "
             "S16->R%uC%u V=%u S=%u M=%u C=%u\r\n",
             node,
             node_state[node],
             BuildNodeFlags(node),
             (unsigned long)cycles_ok[node],
             (unsigned long)bed_cycle,
             (unsigned long)bed_sync_mask,

             BedMap_GetRow(node, 0),
             BedMap_GetCol(0),
             sensor_value[node][0],
             sensor_status[node][0],
             valid_mask[node][0],
             sensor_confidence[node][0],

             BedMap_GetRow(node, 16),
             BedMap_GetCol(16),
             sensor_value[node][16],
             sensor_status[node][16],
             valid_mask[node][16],
             sensor_confidence[node][16]);
#endif

      // === ساخت flags برای UI و ارسال Node32 با throttle ===
      {
        uint8_t uart_flags = BuildNodeFlags(node);

        static uint32_t ui_node32_div = 0U;
        ui_node32_div++;

        if ((ui_node32_div % UI_NODE32_SEND_EVERY_N_CYCLES) == 0U)
        {
          if (SerialLink_SendNode32_Async(node,
                                          (uint16_t)cycles_ok[node],
                                          uart_flags,
                                          sensors32[node]) != pdPASS)
          {
            tx_drop++;
            printf("ENQ NODE32 FAIL\r\n");
          }
          else
          {
            printf("ENQ NODE32 OK\r\n");
          }
        }
      }
    }
  }
}

/* USER CODE BEGIN Application */

// ===  Build UART flags for a node ===
// فعلاً فقط state نود را در بیت‌های 0..1 قرار می‌دهد
static uint8_t BuildNodeFlags(uint8_t node)
{
  uint8_t flags = 0U;

  // اگر node نامعتبر بود، flags صفر برگردد
  if (node >= (uint8_t)NODES)
    return 0U;

  // state نود را در بیت‌های 0..1 قرار بده
  flags |= (uint8_t)((node_state[node] & UART_FLAG_NODE_STATE_MASK) << UART_FLAG_NODE_STATE_SHIFT);

  return flags;
}
/*--------------------------------------------------------------------------------*/
// === [NEW] sensor validity policy ===
// خروجی:
// 1 = این سنسور usable است
// 0 = این سنسور فعلاً invalid است
static uint8_t SensorStatus_IsValid(uint8_t status)
{
  switch (status)
  {
    case SENSOR_STATUS_OK:
      return 1U;

    case SENSOR_STATUS_WARNING:
      // فعلاً warning را usable در نظر می‌گیریم
      return 1U;

    case SENSOR_STATUS_ERROR:
      return 0U;

    case SENSOR_STATUS_DISCONNECTED:
      return 0U;

    default:
      // هر status ناشناخته را invalid فرض کن
      return 0U;
  }
}

/*--------------------------------------------------------------------------------*/
// === [NEW] sensor confidence policy ===
// خروجی:
// 255 = اعتماد کامل
// 128 = قابل استفاده ولی با احتیاط
// 0   = غیرقابل اعتماد
static uint8_t SensorStatus_GetConfidence(uint8_t status)
{
  switch (status)
  {
    case SENSOR_STATUS_OK:
      return 255U;

    case SENSOR_STATUS_WARNING:
      return 128U;

    case SENSOR_STATUS_ERROR:
      return 0U;

    case SENSOR_STATUS_DISCONNECTED:
      return 0U;

    default:
      return 0U;
  }
}
/*--------------------------------------------------------------------------------*/
static void UpdateExposureCounters(const ZoneAnalysisResult_t *zone_res, uint32_t now_ms)
{
  if (zone_res == 0)
    return;

  if (g_last_exposure_update_ms == 0U)
  {
    g_last_exposure_update_ms = now_ms;
    return;
  }

  uint32_t dt_ms = now_ms - g_last_exposure_update_ms;

  // فقط وقتی حداقل 1 ثانیه گذشته باشد، counterها را جلو ببر
  if (dt_ms < 1000U)
    return;

  uint32_t dt_s = dt_ms / 1000U;
  g_last_exposure_update_ms += dt_s * 1000U;

  uint8_t sacrum_avg = zone_res->zone[ZONE_SACRUM].avg;
  uint8_t heel_left_avg = zone_res->zone[ZONE_LEFT_HEEL].avg;
  uint8_t heel_right_avg = zone_res->zone[ZONE_RIGHT_HEEL].avg;
  uint8_t shoulders_left_avg = zone_res->zone[ZONE_LEFT_SHOULDER].avg;
  uint8_t shoulders_right_avg = zone_res->zone[ZONE_RIGHT_SHOULDER].avg;

  // === FIX: use max instead of average for exposure detection ===
  // دلیل: avg خیلی low میشه و exposure هیچوقت trigger نمیشه

  uint8_t heels_metric =
      (heel_left_avg > heel_right_avg) ? heel_left_avg : heel_right_avg;

  uint8_t shoulders_metric =
      (shoulders_left_avg > shoulders_right_avg) ? shoulders_left_avg : shoulders_right_avg;

  // === exposure accumulation per zone ===
  // هر zone threshold مخصوص خودش را دارد
  if (sacrum_avg >= g_sacrum_exposure_threshold)
    g_sacrum_exposure_s += dt_s;

  if (heels_metric >= g_heels_exposure_threshold)
    g_heels_exposure_s += dt_s;

  if (shoulders_metric >= g_shoulders_exposure_threshold)
    g_shoulders_exposure_s += dt_s;

 /* printf("DBG EXP SRC: sac=%u heelL=%u heelR=%u shL=%u shR=%u thr=%u\n",
         (unsigned int)zone_res->zone[ZONE_SACRUM].avg,
         (unsigned int)zone_res->zone[ZONE_LEFT_HEEL].avg,
         (unsigned int)zone_res->zone[ZONE_RIGHT_HEEL].avg,
         (unsigned int)zone_res->zone[ZONE_LEFT_SHOULDER].avg,
         (unsigned int)zone_res->zone[ZONE_RIGHT_SHOULDER].avg,
         (unsigned int)g_sacrum_exposure_threshold);*/

  // === DEBUG: verify exposure counters are increasing ===
  // این print برای اینه که ببینیم counterها واقعا در MCU افزایش پیدا میکنن یا نه
 /* printf("DBG EXP CNT: sac=%lu heel=%lu sh=%lu\r\n",
         (unsigned long)g_sacrum_exposure_s,
         (unsigned long)g_heels_exposure_s,
         (unsigned long)g_shoulders_exposure_s);*/
}
/*--------------------------------------------------------------------------------*/

void vApplicationMallocFailedHook(void)
{
  taskDISABLE_INTERRUPTS();
  for(;;);
}
/*--------------------------------------------------------------------------------*/

void vApplicationStackOverflowHook(TaskHandle_t xTask, char *pcTaskName)
{
  (void)xTask; (void)pcTaskName;
  taskDISABLE_INTERRUPTS();
  for(;;);
}
/*--------------------------------------------------------------------------------*/
void UartTestTask(void *argument)
{
    uint8_t test[32];

    for(int i=0;i<32;i++)
        test[i] = i;

    for(;;)
    {
        UartPkt_SendNode32(1, 123, 0x01, test);
        osDelay(1000);
    }
}

/*--------------------------------------------------------------------------------*/

/*void Node1CmdTask(void *argument)
{
  (void)argument;

  //const uint8_t node = 1;
  //const uint32_t period_ms = 100;   // “دائم” یعنی دوره‌ای؛ اینجا 100ms

  // مثال: cmd=0x01 (PING) یا هر کامند دلخواه خودت
  //const uint8_t cmd = 0x01;

  for (;;)
  {

    // نمونه: arg0/1/2 و param32 رو هر چی لازم داری پر کن
		CanCmd_SendToNode(1, 0x01, 0, 0, 0, 0);

    osDelay(500);
  }
}*/

/*--------------------------------------------------------------------------------*/

void NodeMonitorTask(void *argument)
{
  (void)argument;

  // === [CONFIG] هر چند ms یک بار وضعیت نودها بررسی شود ===
  const uint32_t monitor_period_ms = 100U;

  // === [DEBUG] نگهداری state قبلی برای تشخیص تغییر ===
  static uint8_t prev_state[NODES];

  // === [INIT] در شروع، مقدار نامعتبر می‌گذاریم تا اولین مقایسه معنی‌دار شود ===
  for (uint8_t n = 0; n < NODES; n++)
  {
    prev_state[n] = 0xFFU;
  }

  printf("NodeMonitorTask started\r\n");

  for (;;)
  {
    const uint32_t now = HAL_GetTick();

    for (uint8_t n = 0; n < NODES; n++)
    {
      uint8_t new_state;

      // === [POLICY] اگر هنوز هیچ complete cycle از این نود نگرفته‌ایم ===
      if (node_last_complete_ms[n] == 0U)
      {
        new_state = NODE_STATE_OFFLINE;
      }
      else
      {
        const uint32_t age = now - node_last_complete_ms[n];

        if (age >= NODE_OFFLINE_TIMEOUT_MS)
        {
          new_state = NODE_STATE_OFFLINE;
        }
        else if (age >= NODE_STALE_TIMEOUT_MS)
        {
          new_state = NODE_STATE_STALE;
        }
        else
        {
          new_state = NODE_STATE_ONLINE;
        }
      }

      // === [UPDATE] ثبت state جدید ===
      node_state[n] = new_state;

      // === [EVENT] فقط وقتی state تغییر کرد ===
      if (prev_state[n] != new_state)
      {
		#if DEBUG_NODE_MONITOR
			  if (n == 1U)
			  {
				printf("NODE %u state -> %u (age=%lu ms)\r\n",
					   n,
					   new_state,
					   (unsigned long)((node_last_complete_ms[n] == 0U) ? 0U : (now - node_last_complete_ms[n])));
			  }
		#endif
        // === [NEW] وقتی state عوض شد، یک packet برای UI بفرست ===
        // با آخرین raw data موجود و flags جدید
        {
          uint8_t uart_flags = BuildNodeFlags(n);

			  if (SerialLink_SendNode32_Async((uint8_t)n,
											  (uint16_t)cycles_ok[n],
											  uart_flags,
											  sensors32[n]) != pdPASS)
			  {
				// === [DEBUG] اگر خواستی، این print را نگه دار ===
				printf("NodeMonitorTask: UI resend failed for node %u\r\n", n);
			  }

        }

        // update previous state after successful processing
        prev_state[n] = new_state;
      }
    }

    osDelay(monitor_period_ms);
  }
}
/* USER CODE END Application */
